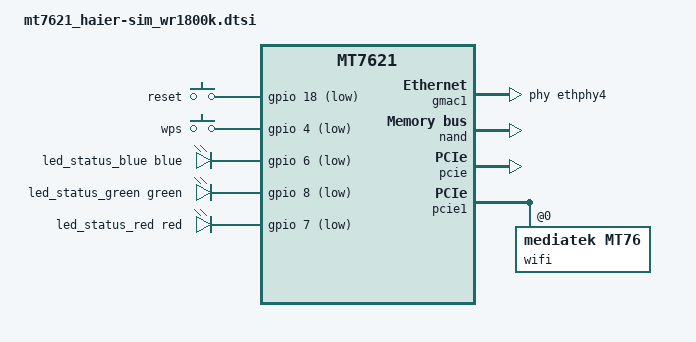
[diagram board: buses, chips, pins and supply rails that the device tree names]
// SPDX-License-Identifier: GPL-2.0-or-later OR MIT

#include "mt7621.dtsi"

#include <dt-bindings/gpio/gpio.h>
#include <dt-bindings/input/input.h>
#include <dt-bindings/leds/common.h>

/ {
	aliases {
		label-mac-device = &gmac1;
		led-boot = &led_status_red;
		led-failsafe = &led_status_blue;
		led-running = &led_status_green;
		led-upgrade = &led_status_blue;
	};

	chosen {
		bootargs = "console=ttyS0,115200";
		bootargs-override = "console=ttyS0,115200";
	};

	keys {
		compatible = "gpio-keys";

		reset {
			label = "reset";
			gpios = <&gpio 18 GPIO_ACTIVE_LOW>;
			linux,code = <KEY_RESTART>;
		};

		wps {
			label = "wps";
			gpios = <&gpio 4 GPIO_ACTIVE_LOW>;
			linux,code = <KEY_WPS_BUTTON>;
		};
	};

	leds {
		compatible = "gpio-leds";

		led_status_blue: led-0 {
			color = <LED_COLOR_ID_BLUE>;
			function = LED_FUNCTION_STATUS;
			gpios = <&gpio 6 GPIO_ACTIVE_LOW>;
		};

		led_status_green: led-1 {
			color = <LED_COLOR_ID_GREEN>;
			function = LED_FUNCTION_STATUS;
			gpios = <&gpio 8 GPIO_ACTIVE_LOW>;
		};

		led_status_red: led-2 {
			color = <LED_COLOR_ID_RED>;
			function = LED_FUNCTION_STATUS;
			gpios = <&gpio 7 GPIO_ACTIVE_LOW>;
		};
	};
};

&gmac0 {
	nvmem-cells = <&macaddr_factory_8004 0>;
	nvmem-cell-names = "mac-address";
};

&gmac1 {
	status = "okay";
	label = "wan";
	phy-handle = <&ethphy4>;

	nvmem-cells = <&macaddr_factory_8004 (-3)>;
	nvmem-cell-names = "mac-address";
};

&ethphy4 {
	/delete-property/ interrupts;
};

&nand {
	status = "okay";

	partitions {
		compatible = "fixed-partitions";
		#address-cells = <1>;
		#size-cells = <1>;

		partition@0 {
			label = "u-boot";
			reg = <0x0000000 0x0080000>;
			read-only;
		};

		partition@80000 {
			label = "u-boot-env";
			reg = <0x0080000 0x0080000>;
		};

		partition@100000 {
			label = "factory";
			reg = <0x0100000 0x0080000>;
			read-only;

			nvmem-layout {
				compatible = "fixed-layout";
				#address-cells = <1>;
				#size-cells = <1>;

				eeprom_factory_0: eeprom@0 {
					reg = <0x0 0xe00>;
				};

				macaddr_factory_8004: macaddr@8004 {
					compatible = "mac-base";
					reg = <0x8004 0x6>;
					#nvmem-cell-cells = <1>;
				};
			};
		};

		partition@180000 {
			label = "firmware";
			reg = <0x0180000 0x7a80000>;

			compatible = "fixed-partitions";
			#address-cells = <1>;
			#size-cells = <1>;

			partition@0 {
				label = "kernel";
				reg = <0x0000000 0x0400000>;
			};

			partition@400000 {
				label = "ubi";
				reg = <0x0400000 0x7680000>;
			};
		};

		/* last 128KiB *32 is reserved for bad blocks management */
	};
};

&pcie {
	status = "okay";
};

&pcie1 {
	wifi@0,0 {
		compatible = "mediatek,mt76";
		reg = <0x0000 0 0 0 0>;
		nvmem-cells = <&eeprom_factory_0>;
		nvmem-cell-names = "eeprom";
		mediatek,disable-radar-background;
	};
};

&state_default {
	gpio {
		groups = "i2c", "uart3", "wdt";
		function = "gpio";
	};
};

&switch0 {
	ports {
		port@1 {
			status = "okay";
			label = "lan3";
		};

		port@2 {
			status = "okay";
			label = "lan2";
		};

		port@3 {
			status = "okay";
			label = "lan1";
		};
	};
};

&xhci {
	status = "disabled";
};
